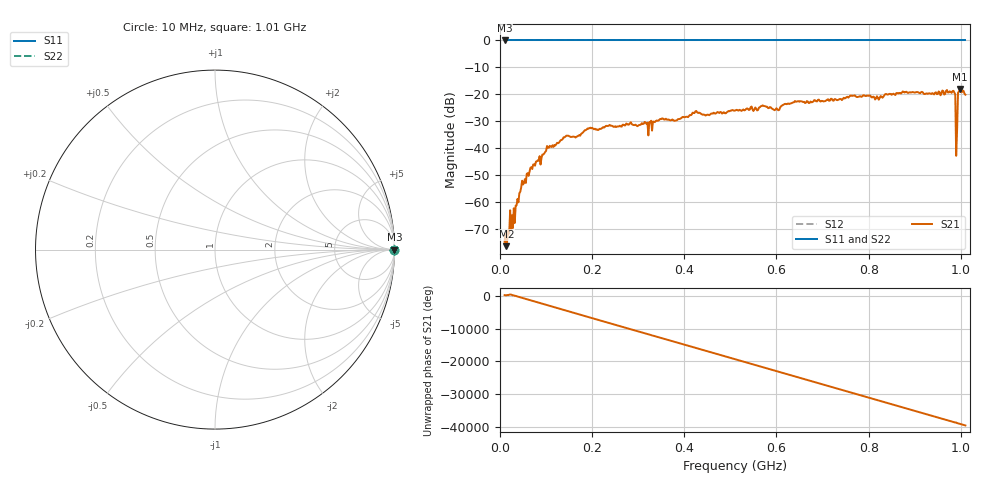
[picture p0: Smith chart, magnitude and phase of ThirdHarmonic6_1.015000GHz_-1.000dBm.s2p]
! 8/16/2025 8:25:40 AM
! C:\ANRITSUVNA\TEMP\TEMP.S2P
! CHANNEL.1
! TR.MEASUREMENT
! RAW.DATA
! RF.CORRECTION.OFF
! AVERAGING.OFF
! IF.BANDWIDTH: 5KHZ
! SWEEPTYPE:  FREQ.SWEEP(Linear)
! Reference Plane Port Info
! PORT:  PORT1  PORT2
! DISTANCE:  0  m  0  m
! TIME:  0  s  0  s
! PHASE.OFFSET:  0  deg.  0  deg.
! LOSS:  0  dB  0  dB
! REF.LOSS:  0  dB  0  dB
! REF.FREQ:  0  Hz  0  Hz
! Power Info
! POWER:  -20  dBm  -20  dBm
! EFF.POWER:  -20  dBm  -20  dBm
! SOURCE.ATTEN:  0  dB  0  dB
! TEST.ATTEN:  0  dB  0  dB
# GHZ S RI R 50.0
! FREQ.GHZ  S11RE  S11IM  S21RE  S21IM  S12RE  S12IM  S22RE  S22IM
!; PortSelection: Port_12
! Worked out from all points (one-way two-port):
!   501 points, 10 MHz to 1.01 GHz, reference 50 ohm
!   highest |S21| = -18.05 dB at 998 MHz (marker M1); lowest = -76.5 dB at 14 MHz (marker M2)
!   lowest |S11| = 0.0 dB at 10 MHz (marker M3)
!   |S11| at or under -10 dB: nowhere
!   |S22| runs from 0.0 to 0.0 dB; largest |S21 - S12| = 1.1
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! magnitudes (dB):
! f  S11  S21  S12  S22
! 10 MHz  0.0  -74.9  0.0  0.0
! 14 MHz  0.0  -76.5  0.0  0.0
! 26 MHz  0.0  -65.0  0.0  0.0
! 28 MHz  0.0  -69.8  0.0  0.0
! 46 MHz  0.0  -54.7  0.0  0.0
! 70 MHz  0.0  -47.8  0.0  0.0
! 106 MHz  0.0  -39.9  0.0  0.0
! 178 MHz  0.0  -34.5  0.0  0.0
! 234 MHz  0.0  -31.8  0.0  0.0
! 326 MHz  0.0  -30.4  0.0  0.0
! 344 MHz  0.0  -29.8  0.0  0.0
! 510 MHz  0.0  -26.1  0.0  0.0
! 602 MHz  0.0  -25.6  0.0  0.0
! 678 MHz  0.0  -22.9  0.0  0.0
! 844 MHz  0.0  -19.9  0.0  0.0
! 982 MHz  0.0  -18.9  0.0  0.0
! 984 MHz  0.0  -18.7  0.0  0.0
! 988 MHz  0.0  -20.0  0.0  0.0
! 990 MHz  0.0  -42.9  0.0  0.0
! 994 MHz  0.0  -19.5  0.0  0.0
! 998 MHz  0.0  -18.1  0.0  0.0
! 1.01 GHz  0.0  -20.2  0.0  0.0
